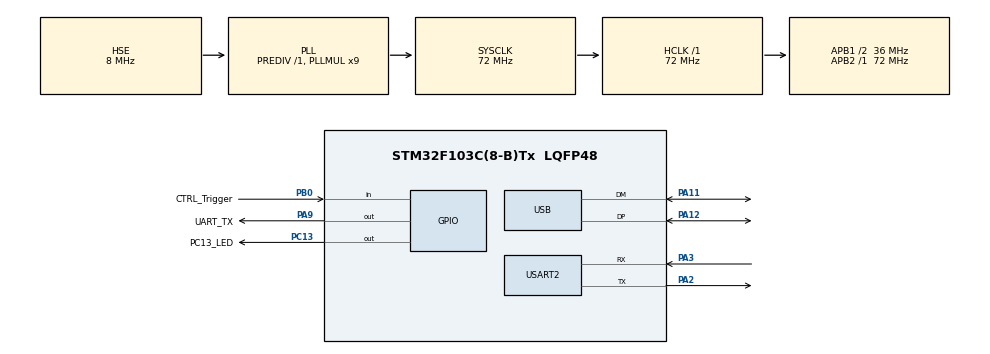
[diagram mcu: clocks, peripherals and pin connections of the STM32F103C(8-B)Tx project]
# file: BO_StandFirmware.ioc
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Mcu.Family=STM32F1
Mcu.Name=STM32F103C(8-B)Tx
Mcu.Package=LQFP48
NVIC.PriorityGroup=NVIC_PRIORITYGROUP_4
NVIC.USART2_IRQn=true\:2\:0\:true\:false\:true\:true\:true
NVIC.USB_LP_CAN1_RX0_IRQn=true\:0\:0\:false\:false\:true\:false\:true
PA11.Mode=Device
PA11.Signal=USB_DM
PA12.Mode=Device
PA12.Signal=USB_DP
PA13.Mode=Serial_Wire
PA13.Signal=SYS_JTMS-SWDIO
PA14.Mode=Serial_Wire
PA14.Signal=SYS_JTCK-SWCLK
PA2.Mode=Asynchronous
PA2.Signal=USART2_TX
PA3.Mode=Asynchronous
PA3.Signal=USART2_RX
PA9.GPIO_Label=UART_TX
PA9.Signal=GPIO_Output
PB0.GPIO_Label=CTRL_Trigger
PB0.GPIO_PuPd=GPIO_PULLUP
PB0.Signal=GPIO_Input
PC13-TAMPER-RTC.GPIO_Label=PC13_LED
PC13-TAMPER-RTC.Signal=GPIO_Output
PD0-OSC_IN.Mode=HSE-External-Oscillator
PD0-OSC_IN.Signal=RCC_OSC_IN
PD1-OSC_OUT.Mode=HSE-External-Oscillator
PD1-OSC_OUT.Signal=RCC_OSC_OUT
ProjectManager.HeapSize=0x200
ProjectManager.StackSize=0x400
ProjectManager.TargetToolchain=MDK-ARM V5.32
RCC.AHBFreq_Value=72000000
RCC.APB1CLKDivider=RCC_HCLK_DIV2
RCC.APB1Freq_Value=36000000
RCC.APB1TimFreq_Value=72000000
RCC.APB2Freq_Value=72000000
RCC.APB2TimFreq_Value=72000000
RCC.HCLKFreq_Value=72000000
RCC.PLLMUL=RCC_PLL_MUL9
RCC.PLLSourceVirtual=RCC_PLLSOURCE_HSE
RCC.SYSCLKFreq_VALUE=72000000
RCC.SYSCLKSource=RCC_SYSCLKSOURCE_PLLCLK
RCC.USBFreq_Value=48000000
RCC.USBPrescaler=RCC_USBCLKSOURCE_PLL_DIV1_5
USART2.VirtualMode=VM_ASYNC
USB_DEVICE.CLASS_NAME_FS=CDC
USB_DEVICE.USBD_MAX_STR_DESC_SIZ=512
USB_DEVICE.VirtualMode=Cdc
USB_DEVICE.VirtualModeFS=Cdc_FS
VP_USB_DEVICE_VS_USB_DEVICE_CDC_FS.Mode=CDC_FS
board=custom

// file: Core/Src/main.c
/* USER CODE BEGIN Header */
/**
  ******************************************************************************
  * @file           : main.c
  * @brief          : Main program body
  ******************************************************************************
  * @attention
  *
  * <h2><center>&copy; Copyright (c) 2022 STMicroelectronics.
  * All rights reserved.</center></h2>
  *
  * This software component is licensed by ST under Ultimate Liberty license
  * SLA0044, the "License"; You may not use this file except in compliance with
  * the License. You may obtain a copy of the License at:
  *                             www.st.com/SLA0044
  *
  ******************************************************************************
  */
/* USER CODE END Header */
#include "main.h"
#include "usb_device.h"

/* USER CODE BEGIN PTD */
uint8_t 				USB_TX_MASS[1000];
uint8_t 				USB_RX_MASS[1000];
std_union				len;
std_union				temp;

uint8_t					usb_parcel_counter = 0;
uint8_t					usb_parcel_mode = 0;

int 						mode = 0;
/* USER CODE END PTD */

UART_HandleTypeDef huart2;

void SystemClock_Config(void);
static void MX_GPIO_Init(void);
static void MX_USART2_UART_Init(void);

int main(void)
{

  /* MCU Configuration--------------------------------------------------------*/

  /* Reset of all peripherals, Initializes the Flash interface and the Systick. */
  HAL_Init();

  /* Configure the system clock */
  SystemClock_Config();

  /* Initialize all configured peripherals */
  MX_GPIO_Init();
  MX_USART2_UART_Init();
  MX_USB_DEVICE_Init();

  /* Infinite loop */
  while (1)
  {

  }
}

void SystemClock_Config(void)
{
  RCC_OscInitTypeDef RCC_OscInitStruct = {0};
  RCC_ClkInitTypeDef RCC_ClkInitStruct = {0};
  RCC_PeriphCLKInitTypeDef PeriphClkInit = {0};

  /** Initializes the RCC Oscillators according to the specified parameters
  * in the RCC_OscInitTypeDef structure.
  */
  RCC_OscInitStruct.OscillatorType = RCC_OSCILLATORTYPE_HSE;
  RCC_OscInitStruct.HSEState = RCC_HSE_ON;
  RCC_OscInitStruct.HSEPredivValue = RCC_HSE_PREDIV_DIV1;
  RCC_OscInitStruct.HSIState = RCC_HSI_ON;
  RCC_OscInitStruct.PLL.PLLState = RCC_PLL_ON;
  RCC_OscInitStruct.PLL.PLLSource = RCC_PLLSOURCE_HSE;
  RCC_OscInitStruct.PLL.PLLMUL = RCC_PLL_MUL9;
  if (HAL_RCC_OscConfig(&RCC_OscInitStruct) != HAL_OK)
  {
    Error_Handler();
  }
  /** Initializes the CPU, AHB and APB buses clocks
  */
  RCC_ClkInitStruct.ClockType = RCC_CLOCKTYPE_HCLK|RCC_CLOCKTYPE_SYSCLK
                              |RCC_CLOCKTYPE_PCLK1|RCC_CLOCKTYPE_PCLK2;
  RCC_ClkInitStruct.SYSCLKSource = RCC_SYSCLKSOURCE_PLLCLK;
  RCC_ClkInitStruct.AHBCLKDivider = RCC_SYSCLK_DIV1;
  RCC_ClkInitStruct.APB1CLKDivider = RCC_HCLK_DIV2;
  RCC_ClkInitStruct.APB2CLKDivider = RCC_HCLK_DIV1;

  if (HAL_RCC_ClockConfig(&RCC_ClkInitStruct, FLASH_LATENCY_2) != HAL_OK)
  {
    Error_Handler();
  }
  PeriphClkInit.PeriphClockSelection = RCC_PERIPHCLK_USB;
  PeriphClkInit.UsbClockSelection = RCC_USBCLKSOURCE_PLL_DIV1_5;
  if (HAL_RCCEx_PeriphCLKConfig(&PeriphClkInit) != HAL_OK)
  {
    Error_Handler();
  }
}

static void MX_USART2_UART_Init(void)
{

  huart2.Instance = USART2;
  huart2.Init.BaudRate = 115200;
  huart2.Init.WordLength = UART_WORDLENGTH_8B;
  huart2.Init.StopBits = UART_STOPBITS_1;
  huart2.Init.Parity = UART_PARITY_NONE;
  huart2.Init.Mode = UART_MODE_TX_RX;
  huart2.Init.HwFlowCtl = UART_HWCONTROL_NONE;
  huart2.Init.OverSampling = UART_OVERSAMPLING_16;
  if (HAL_UART_Init(&huart2) != HAL_OK)
  {
    Error_Handler();
  }

}

static void MX_GPIO_Init(void)
{
  GPIO_InitTypeDef GPIO_InitStruct = {0};

  /* GPIO Ports Clock Enable */
  __HAL_RCC_GPIOC_CLK_ENABLE();
  __HAL_RCC_GPIOD_CLK_ENABLE();
  __HAL_RCC_GPIOA_CLK_ENABLE();
  __HAL_RCC_GPIOB_CLK_ENABLE();

  /*Configure GPIO pin Output Level */
  HAL_GPIO_WritePin(PC13_LED_GPIO_Port, PC13_LED_Pin, GPIO_PIN_RESET);

  /*Configure GPIO pin Output Level */
  HAL_GPIO_WritePin(UART_TX_GPIO_Port, UART_TX_Pin, GPIO_PIN_RESET);

  /*Configure GPIO pin : PC13_LED_Pin */
  GPIO_InitStruct.Pin = PC13_LED_Pin;
  GPIO_InitStruct.Mode = GPIO_MODE_OUTPUT_PP;
  GPIO_InitStruct.Pull = GPIO_NOPULL;
  GPIO_InitStruct.Speed = GPIO_SPEED_FREQ_LOW;
  HAL_GPIO_Init(PC13_LED_GPIO_Port, &GPIO_InitStruct);

  /*Configure GPIO pin : CTRL_Trigger_Pin */
  GPIO_InitStruct.Pin = CTRL_Trigger_Pin;
  GPIO_InitStruct.Mode = GPIO_MODE_INPUT;
  GPIO_InitStruct.Pull = GPIO_PULLUP;
  HAL_GPIO_Init(CTRL_Trigger_GPIO_Port, &GPIO_InitStruct);

  /*Configure GPIO pin : UART_TX_Pin */
  GPIO_InitStruct.Pin = UART_TX_Pin;
  GPIO_InitStruct.Mode = GPIO_MODE_OUTPUT_PP;
  GPIO_InitStruct.Pull = GPIO_NOPULL;
  GPIO_InitStruct.Speed = GPIO_SPEED_FREQ_LOW;
  HAL_GPIO_Init(UART_TX_GPIO_Port, &GPIO_InitStruct);

}

/* USER CODE BEGIN 4 */

void usb_irq_parser(void)
{
	std_union usb_len;

	usb_len.cstd[1] = USB_RX_MASS[1];
	usb_len.cstd[0] = USB_RX_MASS[2];

	switch(USB_RX_MASS[4])
	{
		case	ECHO:
			CDC_Transmit_FS(USB_RX_MASS, usb_len.istd);
			HAL_GPIO_TogglePin(PC13_LED_GPIO_Port, PC13_LED_Pin);

			break;
		case	BO_CTRL:
			if(USB_RX_MASS[5] == 0)
			{
				HAL_GPIO_WritePin(UART_TX_GPIO_Port, UART_TX_Pin, GPIO_PIN_RESET);
				HAL_GPIO_WritePin(PC13_LED_GPIO_Port, PC13_LED_Pin, GPIO_PIN_RESET);
			}
			else if(USB_RX_MASS[5] == 2)
			{
				HAL_GPIO_WritePin(UART_TX_GPIO_Port, UART_TX_Pin, GPIO_PIN_SET);
				HAL_GPIO_WritePin(PC13_LED_GPIO_Port, PC13_LED_Pin, GPIO_PIN_SET);
			}
			else
			{
				memcpy(USB_RX_MASS, "Wrong argument", 14);
				CDC_Transmit_FS(USB_RX_MASS, usb_len.istd);
			}
			break;
		default:
			memcpy(USB_TX_MASS, "No message", 10);
			CDC_Transmit_FS(USB_RX_MASS, usb_len.istd);
			break;
	}
	usb_parcel_counter = 0;

}

uint8_t xor_handler(uint8_t *mass)
{
	uint8_t result = 0;
	std_union temp_1;
	temp_1.cstd[1] = mass[1];
	temp_1.cstd[0] = mass[2];
	for(int i = 0; i < (temp_1.istd); i++)
	{
		result ^= mass[i];
	}
	return result;
}

/* USER CODE END 4 */

void Error_Handler(void)
{
  __disable_irq();
  while (1)
  {
  }
}
